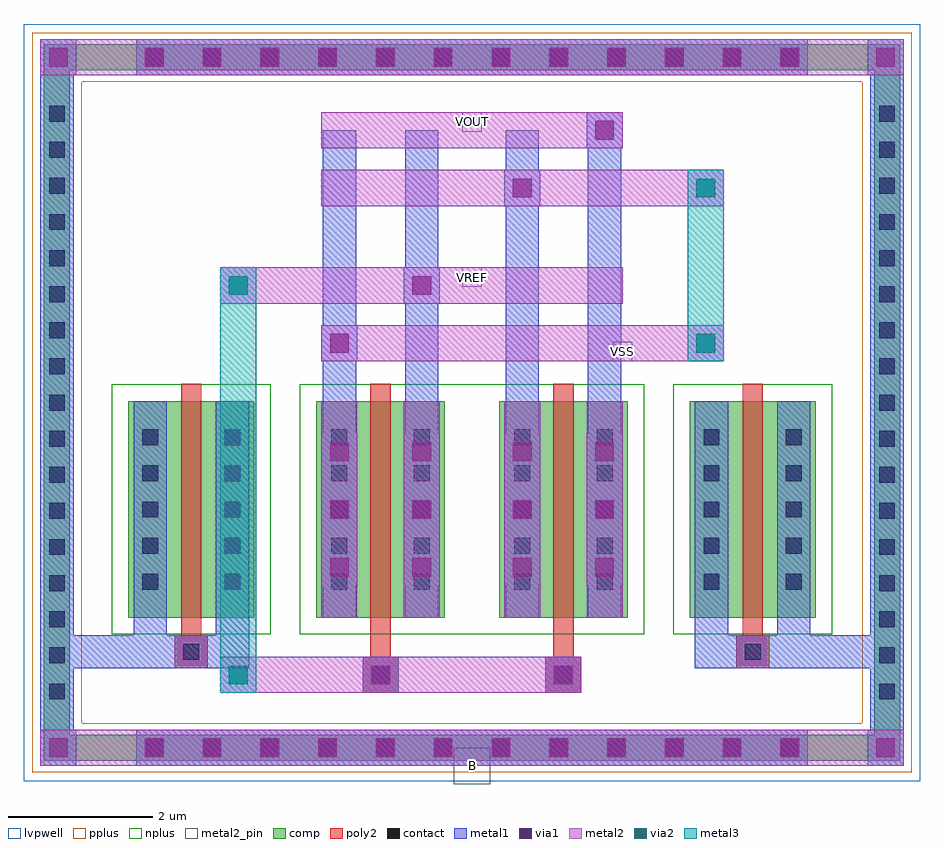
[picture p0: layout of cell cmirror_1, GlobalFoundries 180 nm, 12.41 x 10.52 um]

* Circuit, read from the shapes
.subckt cmirror_1 B VOUT VREF VSS
XM1 B B B B nfet_03v3 w=3u l=0.28u m=2
XM2 VREF VREF VSS B nfet_03v3 w=3u l=0.28u
XM3 VOUT VREF VSS B nfet_03v3 w=3u l=0.28u
.ends

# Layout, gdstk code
import gdstk
lib = gdstk.Library(unit=1e-6, precision=5e-09)
def R(c, l, rs):  # rectangles x0, y0, x1, y1
    for r in rs: c.add(gdstk.rectangle(r[:2], r[2:], *l))
def A(c, l, x, y, w, h, nx, ny, dx, dy):  # array of equal rectangles
    R(c, l, [(x+i*dx, y+j*dy, x+i*dx+w, y+j*dy+h) for i in range(nx) for j in range(ny)])
def P(c, l, *ps):  # polygons
    for p in ps: c.add(gdstk.Polygon(p, *l))
comp = (22, 0)
poly2 = (30, 0)
pplus = (31, 0)
nplus = (32, 0)
contact = (33, 0)
metal1 = (34, 0)
via1 = (35, 0)
metal2 = (36, 0)
metal2_pin = (36, 10)
via2 = (38, 0)
metal3 = (42, 0)
lvpwell = (204, 0)

cmirror_1 = lib.new_cell('cmirror_1')
A(cmirror_1, comp, -4.58, -4.96, 0.36, 0.36, 12, 2, 0.8, 9.56)
A(cmirror_1, comp, -5.925, -4.18, 0.36, 0.36, 1, 17, 0, 0.5)
A(cmirror_1, comp, 5.565, -4.18, 0.36, 0.36, 1, 17, 0, 0.5)
R(cmirror_1, comp, [(-4.58,-4.96,4.58,-4.6), (-5.925,-4.18,-5.565,4.18), (5.565,-4.18,5.925,4.18), (-4.755,-2.98,-3.015,0.02), (-2.155,-2.98,-0.375,0.02), (0.375,-2.98,2.155,0.02), (3.015,-2.98,4.755,0.02), (-4.58,4.6,4.58,4.96)])
P(cmirror_1, comp, [(5.925,4.96),(-5.925,4.96),(-5.925,-4.6),(-5.565,-4.6),(-5.565,4.6),(5.565,4.6),(5.565,-4.6),(-5.565,-4.6),(-5.925,-4.6),(-5.925,-4.96),(5.925,-4.96)])
R(cmirror_1, poly2, [(-1.515,-4.02,-1.015,-3.52), (1.015,-4.02,1.515,-3.52), (-1.445,-3.95,-1.085,-3.59), (1.085,-3.95,1.445,-3.59), (-4.115,-3.68,-3.655,-3.22), (3.655,-3.68,4.115,-3.22), (-4.065,-3.63,-3.705,-3.27), (3.705,-3.63,4.065,-3.27), (-1.405,-3.52,-1.125,-3.22), (1.125,-3.52,1.405,-3.22), (-4.025,-3.22,-3.745,0.26), (-1.405,-3.22,-1.125,0.26), (1.125,-3.22,1.405,0.26), (3.745,-3.22,4.025,0.26)])
P(cmirror_1, pplus, [(6.085,5.12),(-6.085,5.12),(-6.085,-4.44),(-5.405,-4.44),(-5.405,4.44),(5.405,4.44),(5.405,-4.44),(-5.405,-4.44),(-6.085,-4.44),(-6.085,-5.12),(6.085,-5.12)])
R(cmirror_1, nplus, [(-4.985,-3.21,-2.785,0.25), (-2.385,-3.21,-0.145,0.25), (-2.385,-3.21,2.385,0.25), (0.145,-3.21,2.385,0.25), (2.785,-3.21,4.985,0.25)])
A(cmirror_1, contact, -4.51, -4.89, 0.22, 0.22, 12, 2, 0.8, 9.56)
A(cmirror_1, contact, -5.855, -4.11, 0.22, 0.22, 1, 17, 0, 0.5)
A(cmirror_1, contact, 5.635, -4.11, 0.22, 0.22, 1, 17, 0, 0.5)
A(cmirror_1, contact, -4.565, -2.59, 0.22, 0.22, 1, 5, 0, 0.5)
A(cmirror_1, contact, -3.425, -2.59, 0.22, 0.22, 1, 5, 0, 0.5)
A(cmirror_1, contact, -1.945, -2.59, 0.22, 0.22, 1, 5, 0, 0.5)
A(cmirror_1, contact, -0.805, -2.59, 0.22, 0.22, 1, 5, 0, 0.5)
A(cmirror_1, contact, 0.585, -2.59, 0.22, 0.22, 1, 5, 0, 0.5)
A(cmirror_1, contact, 1.725, -2.59, 0.22, 0.22, 1, 5, 0, 0.5)
A(cmirror_1, contact, 3.205, -2.59, 0.22, 0.22, 1, 5, 0, 0.5)
A(cmirror_1, contact, 4.345, -2.59, 0.22, 0.22, 1, 5, 0, 0.5)
R(cmirror_1, contact, [(-1.375,-3.88,-1.155,-3.66), (1.155,-3.88,1.375,-3.66), (-3.995,-3.56,-3.775,-3.34), (3.775,-3.56,3.995,-3.34)])
A(cmirror_1, metal1, -4.65, -5.03, 0.5, 0.5, 12, 2, 0.8, 9.56)
A(cmirror_1, metal1, -5.975, -4.23, 0.46, 0.46, 1, 17, 0, 0.5)
A(cmirror_1, metal1, 5.515, -4.23, 0.46, 0.46, 1, 17, 0, 0.5)
A(cmirror_1, metal1, -4.685, -2.71, 0.46, 0.46, 1, 5, 0, 0.5)
A(cmirror_1, metal1, -3.545, -2.71, 0.46, 0.46, 1, 5, 0, 0.5)
A(cmirror_1, metal1, -2.065, -2.71, 0.46, 0.46, 1, 5, 0, 0.5)
A(cmirror_1, metal1, -0.925, -2.71, 0.46, 0.46, 1, 5, 0, 0.5)
A(cmirror_1, metal1, 0.465, -2.71, 0.46, 0.46, 1, 5, 0, 0.5)
A(cmirror_1, metal1, 1.605, -2.71, 0.46, 0.46, 1, 5, 0, 0.5)
A(cmirror_1, metal1, 3.085, -2.71, 0.46, 0.46, 1, 5, 0, 0.5)
A(cmirror_1, metal1, 4.225, -2.71, 0.46, 0.46, 1, 5, 0, 0.5)
A(cmirror_1, metal1, -2.085, -2.53, 0.5, 0.5, 1, 3, 0, 0.8)
A(cmirror_1, metal1, -0.945, -2.53, 0.5, 0.5, 1, 3, 0, 0.8)
A(cmirror_1, metal1, 0.445, -2.53, 0.5, 0.5, 1, 3, 0, 0.8)
A(cmirror_1, metal1, 1.585, -2.53, 0.5, 0.5, 1, 3, 0, 0.8)
R(cmirror_1, metal1, [(-5.975,-5.03,-5.475,-4.53), (-5.975,-5.03,-5.475,-4.53), (-5.975,-5.03,-5.515,-4.6), (-4.65,-5.03,4.65,-4.53), (5.475,-5.03,5.975,-4.53), (5.475,-5.03,5.975,-4.53), (5.515,-5.03,5.975,-4.6), (-5.975,-4.6,-5.515,4.6), (5.515,-4.6,5.975,4.6), (-1.515,-4.02,-1.015,-3.52), (1.015,-4.02,1.515,-3.52), (-5.975,-3.68,-4.115,-3.22), (-4.685,-3.68,-4.115,-3.22), (-4.685,-3.68,-4.225,-2.98), (-4.115,-3.68,-3.655,-3.22), (-3.655,-3.68,-3.085,-3.22), (-3.545,-3.68,-3.085,-2.98), (3.085,-3.68,3.655,-3.22), (3.085,-3.68,3.545,-2.98), (3.655,-3.68,4.115,-3.22), (4.115,-3.68,4.685,-3.22), (4.115,-3.68,5.975,-3.22), (4.225,-3.68,4.685,-2.98), (-4.685,-2.98,-4.225,0.02), (-3.545,-2.98,-3.085,0.02), (-2.065,-2.98,-1.605,0.02), (-0.925,-2.98,-0.465,0.02), (0.465,-2.98,0.925,0.02), (1.605,-2.98,2.065,0.02), (3.085,-2.98,3.545,0.02), (4.225,-2.98,4.685,0.02), (-2.085,-2.53,-1.585,-0.43), (-0.945,-2.53,-0.445,-0.43), (0.445,-2.53,0.945,-0.43), (1.585,-2.53,2.085,-0.43), (-2.065,0.02,-1.605,1.07), (-2.065,0.02,-1.605,3.77), (-0.925,0.02,-0.465,1.87), (-0.925,0.02,-0.465,3.77), (0.465,0.02,0.925,3.22), (0.465,0.02,0.925,3.77), (1.605,0.02,2.065,4.02), (1.605,0.02,2.065,3.77), (-2.085,0.57,-1.585,1.07), (-0.945,1.37,-0.445,1.87), (0.445,2.72,0.945,3.22), (1.585,3.52,2.085,4.02), (-5.975,4.53,-5.475,5.03), (-5.975,4.53,-5.475,5.03), (-4.65,4.53,4.65,5.03), (5.475,4.53,5.975,5.03), (5.475,4.53,5.975,5.03), (-5.975,4.6,-5.515,5.03), (5.515,4.6,5.975,5.03)])
A(cmirror_1, via1, -4.53, -4.91, 0.26, 0.26, 12, 2, 0.8, 9.56)
A(cmirror_1, via1, -1.965, -2.41, 0.26, 0.26, 1, 3, 0, 0.8)
A(cmirror_1, via1, -0.825, -2.41, 0.26, 0.26, 1, 3, 0, 0.8)
A(cmirror_1, via1, 0.565, -2.41, 0.26, 0.26, 1, 3, 0, 0.8)
A(cmirror_1, via1, 1.705, -2.41, 0.26, 0.26, 1, 3, 0, 0.8)
R(cmirror_1, via1, [(-5.855,-4.91,-5.595,-4.65), (5.595,-4.91,5.855,-4.65), (-1.395,-3.9,-1.135,-3.64), (1.135,-3.9,1.395,-3.64), (-1.965,0.69,-1.705,0.95), (-0.825,1.49,-0.565,1.75), (0.565,2.84,0.825,3.1), (1.705,3.64,1.965,3.9), (-5.855,4.65,-5.595,4.91), (5.595,4.65,5.855,4.91)])
A(cmirror_1, metal2, -4.65, -5.03, 0.5, 0.5, 12, 2, 0.8, 9.56)
A(cmirror_1, metal2, -2.085, -2.53, 0.5, 0.5, 1, 3, 0, 0.8)
A(cmirror_1, metal2, -0.945, -2.53, 0.5, 0.5, 1, 3, 0, 0.8)
A(cmirror_1, metal2, 0.445, -2.53, 0.5, 0.5, 1, 3, 0, 0.8)
A(cmirror_1, metal2, 1.585, -2.53, 0.5, 0.5, 1, 3, 0, 0.8)
R(cmirror_1, metal2, [(-5.975,-5.03,-5.475,-4.53), (-5.975,-5.03,-5.475,-4.53), (-5.975,-5.03,-5.565,-4.53), (-5.565,-5.03,5.565,-4.53), (5.475,-5.03,5.975,-4.53), (5.475,-5.03,5.975,-4.53), (5.565,-5.03,5.975,-4.53), (-3.485,-4.02,-2.985,-3.52), (-3.485,-4.02,-1.515,-3.52), (-1.515,-4.02,-1.015,-3.52), (-1.515,-4.02,-1.015,-3.52), (-1.515,-4.02,1.515,-3.52), (1.015,-4.02,1.515,-3.52), (1.015,-4.02,1.515,-3.52), (-2.085,-2.98,-1.585,0.02), (-0.945,-2.98,-0.445,0.02), (0.445,-2.98,0.945,0.02), (1.585,-2.98,2.085,0.02), (-2.085,0.57,-1.585,1.07), (-2.085,0.57,-0.445,1.07), (-2.085,0.57,2.085,1.07), (2.085,0.57,3.485,1.07), (2.985,0.57,3.485,1.07), (-3.485,1.37,-2.985,1.87), (-3.485,1.37,-2.085,1.87), (-2.085,1.37,-0.445,1.87), (-2.085,1.37,2.085,1.87), (-0.945,1.37,-0.445,1.87), (-2.085,2.72,2.085,3.22), (0.445,2.72,0.945,3.22), (0.445,2.72,2.085,3.22), (2.085,2.72,3.485,3.22), (2.985,2.72,3.485,3.22), (-2.085,3.52,2.085,4.02), (0.445,3.52,2.085,4.02), (1.585,3.52,2.085,4.02), (-5.975,4.53,-5.475,5.03), (-5.975,4.53,-5.475,5.03), (-5.975,4.53,-5.565,5.03), (-5.565,4.53,5.565,5.03), (5.475,4.53,5.975,5.03), (5.475,4.53,5.975,5.03), (5.565,4.53,5.975,5.03)])
R(cmirror_1, metal2_pin, [(-0.25,-5.28,0.25,-4.78), (1.95,0.57,2.22,0.84), (-0.135,1.6,0.135,1.87), (-0.135,3.75,0.135,4.02)])
R(cmirror_1, via2, [(-3.365,-3.9,-3.105,-3.64), (3.105,0.69,3.365,0.95), (-3.365,1.49,-3.105,1.75), (3.105,2.84,3.365,3.1)])
R(cmirror_1, metal3, [(-3.485,-4.02,-2.985,-3.52), (-3.485,-4.02,-2.985,-3.52), (-3.485,-4.02,-2.985,1.87), (2.985,0.57,3.485,1.07), (2.985,0.57,3.485,1.07), (2.985,0.57,3.485,3.22), (-3.485,1.37,-2.985,1.87), (-3.485,1.37,-2.985,1.87), (2.985,2.72,3.485,3.22), (2.985,2.72,3.485,3.22)])
P(cmirror_1, metal3, [(3.485,0.57),(3.485,0.57),(3.485,1.07),(3.485,1.07)],
  [(3.485,2.72),(3.485,2.72),(3.485,3.22),(3.485,3.22)],
  [(-2.985,-4.02),(-2.985,-4.02),(-2.985,-3.52),(-2.985,-3.52)],
  [(-2.985,1.37),(-2.985,1.37),(-2.985,1.87),(-2.985,1.87)])
R(cmirror_1, lvpwell, [(-6.205,-5.24,6.205,5.24), (-5.105,-4.14,5.105,4.14)])
cmirror_1.add(gdstk.Label('B', (0,-5.03), layer=36, texttype=10))
cmirror_1.add(gdstk.Label('VOUT', (0,3.885), layer=36, texttype=10))
cmirror_1.add(gdstk.Label('VREF', (0,1.735), layer=36, texttype=10))
cmirror_1.add(gdstk.Label('VSS', (2.085,0.705), layer=36, texttype=10))

lib.write_gds('cmirror_1.gds')
